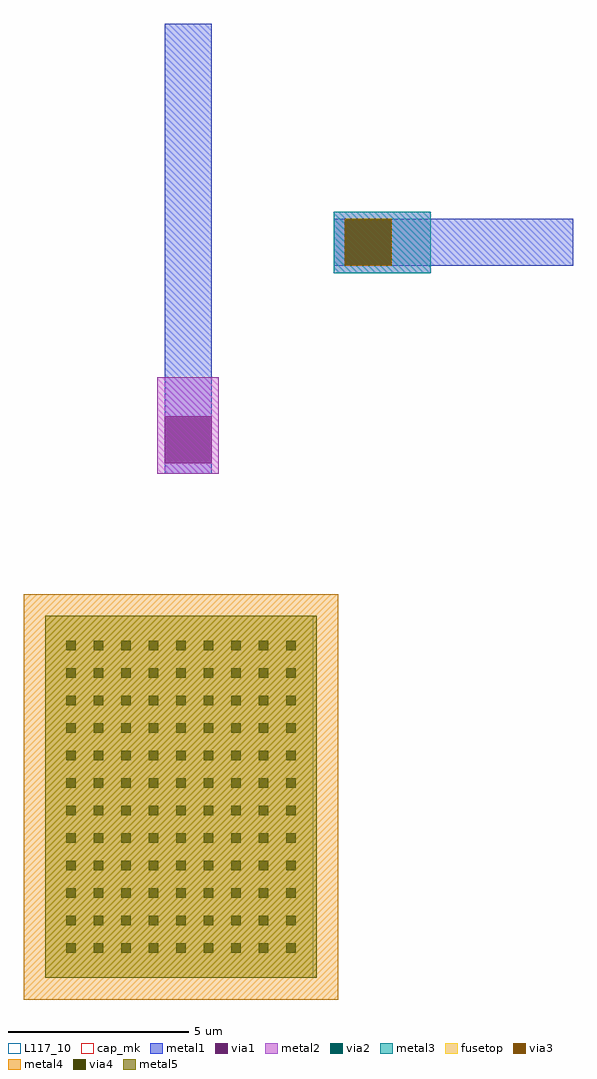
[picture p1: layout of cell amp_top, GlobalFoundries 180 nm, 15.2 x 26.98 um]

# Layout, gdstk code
from math import pi, radians
import gdstk
lib = gdstk.Library(unit=1e-6, precision=5e-09)
def R(c, l, rs):  # rectangles x0, y0, x1, y1
    for r in rs: c.add(gdstk.rectangle(r[:2], r[2:], *l))
def A(c, l, x, y, w, h, nx, ny, dx, dy):  # array of equal rectangles
    R(c, l, [(x+i*dx, y+j*dy, x+i*dx+w, y+j*dy+h) for i in range(nx) for j in range(ny)])
def P(c, l, *ps):  # polygons
    for p in ps: c.add(gdstk.Polygon(p, *l))
metal1 = (34, 0)
via1 = (35, 0)
metal2 = (36, 0)
via2 = (38, 0)
via3 = (40, 0)
via4 = (41, 0)
metal3 = (42, 0)
metal4 = (46, 0)
fusetop = (75, 0)
metal5 = (81, 0)
cap_mk = (117, 5)
L117_10 = (117, 10)

cap_mim_1 = lib.new_cell('cap_mim$1')
A(cap_mim_1, via4, 0.69, 0.58, 0.26, 0.26, 12, 9, 0.76, 0.76)
R(cap_mim_1, metal4, [(-0.6,-0.6,10.6,8.1)])
R(cap_mim_1, fusetop, [(0,0,10,7.5)])
R(cap_mim_1, metal5, [(0,0,10,7.5)])
R(cap_mim_1, cap_mk, [(-0.6,-0.6,10.6,8.1)])
R(cap_mim_1, L117_10, [(0,0,10,0.1)])
cap_mim_1.add(gdstk.Label('t', (5,3.75), layer=81, texttype=10))
cap_mim_1.add(gdstk.Label('b', (5,-0.3), layer=46, texttype=10))

amp_top = lib.new_cell('amp_top')
R(amp_top, metal1, [(39.475,51.725,40.775,52.025), (39.475,52.025,40.775,53.325), (44.15,57.475,44.45,58.775), (44.45,57.475,44.6,58.775), (44.6,57.475,50.775,58.775)])
R(amp_top, via1, [(39.475,52.025,40.775,53.325), (44.45,57.475,45.75,58.775)])
P(amp_top, via1, [(44.875,58.675),(44.875,58.675),(44.875,58.675),(44.875,58.675)])
R(amp_top, metal2, [(39.275,51.725,40.975,54.4), (44.15,57.275,46.825,57.475), (44.15,57.475,46.825,58.775), (44.15,58.775,46.825,58.975)])
R(amp_top, via2, [(44.45,57.475,45.75,58.775)])
R(amp_top, via3, [(44.45,57.475,45.75,58.775)])
R(amp_top, metal3, [(44.15,57.275,46.825,58.975)])
amp_top.add(gdstk.FlexPath([(40.125,53.325),(40.125,64.175)], 1.3, ends="flush", simple_path=True, layer=34, datatype=0))  # metal1
r = gdstk.Reference(cap_mim_1, (43.675,37.8), rotation=pi/2); r.repetition = gdstk.Repetition(1, 1, v1=(0,0), v2=(0,0)); amp_top.add(r)

lib.write_gds('amp_top.gds')
